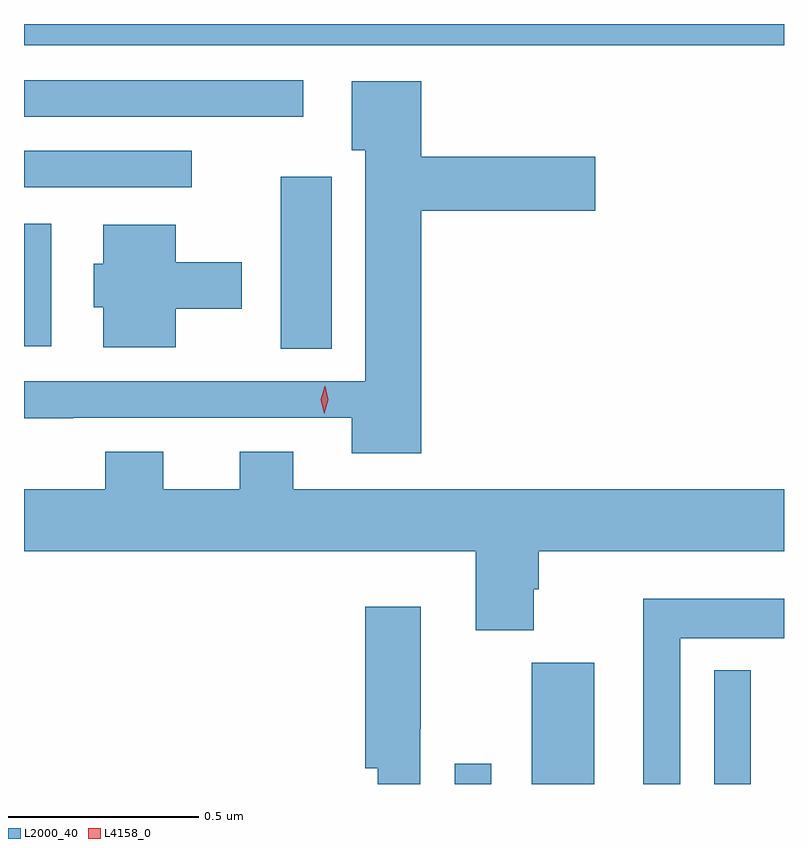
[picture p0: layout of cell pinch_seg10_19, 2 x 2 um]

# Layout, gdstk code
import gdstk
lib = gdstk.Library(unit=1e-6, precision=1e-09)
def R(c, l, rs):  # rectangles x0, y0, x1, y1
    for r in rs: c.add(gdstk.rectangle(r[:2], r[2:], *l))
def P(c, l, *ps):  # polygons
    for p in ps: c.add(gdstk.Polygon(p, *l))
L2000_40 = (2000, 40)
L4158_0 = (4158, 0)

pinch_seg10_19 = lib.new_cell('pinch_seg10_19')
R(pinch_seg10_19, L2000_40, [(954.795,1278.392,954.891,1278.445), (954.998,1278.392,955.162,1278.711), (955.479,1278.392,955.575,1278.691), (954.338,1279.537,954.472,1279.99), (953.662,1279.544,953.734,1279.867), (953.662,1279.962,954.103,1280.058), (953.662,1280.148,954.397,1280.244), (953.662,1280.336,955.662,1280.392)])
P(pinch_seg10_19, L2000_40, [(954.707,1279.901),(955.165,1279.901),(955.165,1280.043),(954.707,1280.043),(954.707,1280.242),(954.524,1280.242),(954.524,1280.06),(954.56,1280.06),(954.56,1279.452),(953.662,1279.452),(953.662,1279.355),(953.792,1279.355),(953.792,1279.356),(954.524,1279.356),(954.524,1279.262),(954.707,1279.262)],
  [(954.061,1279.643),(954.235,1279.643),(954.235,1279.765),(954.061,1279.765),(954.061,1279.864),(953.87,1279.864),(953.87,1279.761),(953.846,1279.761),(953.846,1279.647),(953.87,1279.647),(953.87,1279.541),(954.061,1279.541)],
  [(955.003,1278.905),(955.016,1278.905),(955.016,1279.004),(955.662,1279.004),(955.662,1279.168),(954.37,1279.168),(954.37,1279.267),(954.23,1279.267),(954.23,1279.168),(954.028,1279.168),(954.028,1279.267),(953.876,1279.267),(953.876,1279.168),(953.662,1279.168),(953.662,1279.004),(954.851,1279.004),(954.851,1278.796),(955.003,1278.796)],
  [(955.389,1278.776),(955.662,1278.776),(955.662,1278.88),(955.292,1278.88),(955.292,1278.392),(955.389,1278.392)],
  [(954.705,1278.538),(954.706,1278.538),(954.706,1278.859),(954.56,1278.859),(954.56,1278.434),(954.593,1278.434),(954.593,1278.392),(954.705,1278.392)])
P(pinch_seg10_19, L4158_0, [(954.452,1279.367),(954.452,1279.367),(954.443,1279.403),(954.454,1279.439),(954.455,1279.439),(954.455,1279.439),(954.463,1279.403),(954.452,1279.367)])

lib.write_gds('pinch_seg10_19.gds')
